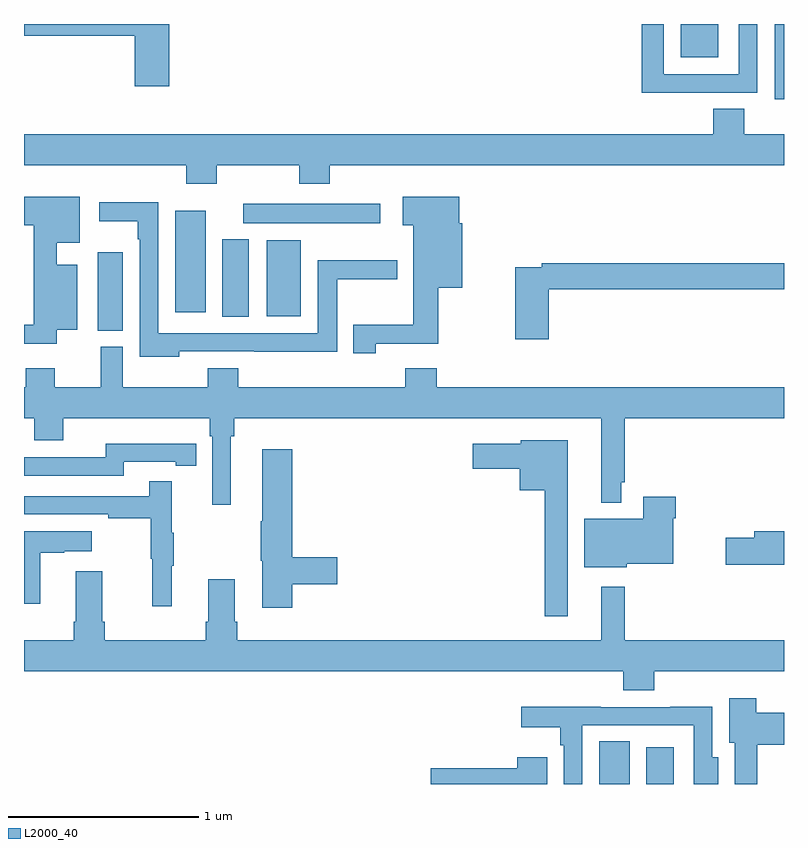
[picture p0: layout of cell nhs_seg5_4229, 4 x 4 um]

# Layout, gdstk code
import gdstk
lib = gdstk.Library(unit=1e-6, precision=1e-09)
def R(c, l, rs):  # rectangles x0, y0, x1, y1
    for r in rs: c.add(gdstk.rectangle(r[:2], r[2:], *l))
def P(c, l, *ps):  # polygons
    for p in ps: c.add(gdstk.Polygon(p, *l))
L2000_40 = (2000, 40)

nhs_seg5_4229 = lib.new_cell('nhs_seg5_4229')
R(nhs_seg5_4229, L2000_40, [(362.027,890.799,362.188,891.023), (362.276,890.799,362.419,890.992), (359.387,893.185,359.521,893.599), (360.044,893.257,360.184,893.665), (360.278,893.261,360.457,893.662), (359.795,893.283,359.956,893.815), (360.153,893.75,360.874,893.854), (362.952,894.402,363,894.799), (362.456,894.623,362.653,894.799)])
P(nhs_seg5_4229, L2000_40, [(359.765,894.799),(359,894.799),(359,894.736),(359.582,894.736),(359.582,894.471),(359.765,894.471)],
  [(362.543,894.438),(362.859,894.438),(362.859,894.799),(362.763,894.799),(362.763,894.534),(362.367,894.534),(362.367,894.799),(362.251,894.799),(362.251,894.437),(362.543,894.437)],
  [(360.015,894.056),(360.448,894.056),(360.448,893.957),(360.608,893.957),(360.608,894.056),(363,894.056),(363,894.22),(362.792,894.22),(362.792,894.353),(362.627,894.353),(362.627,894.22),(359,894.22),(359,894.056),(359.855,894.056),(359.855,893.957),(360.015,893.957)],
  [(360.852,893.117),(361.179,893.117),(361.179,893.411),(361.306,893.411),(361.306,893.751),(361.291,893.751),(361.291,893.89),(360.993,893.89),(360.993,893.741),(361.049,893.741),(361.049,893.217),(360.734,893.217),(360.734,893.067),(360.852,893.067)],
  [(359.173,893.189),(359.281,893.189),(359.281,893.533),(359.173,893.533),(359.173,893.648),(359.293,893.648),(359.293,893.89),(359,893.89),(359,893.741),(359.051,893.741),(359.051,893.217),(359,893.217),(359,893.117),(359.173,893.117)],
  [(359.817,893.076),(360.211,893.076),(360.211,893.075),(360.649,893.075),(360.649,893.455),(360.964,893.455),(360.964,893.555),(360.545,893.555),(360.545,893.172),(359.706,893.172),(359.706,893.861),(359.397,893.861),(359.397,893.762),(359.598,893.762),(359.598,893.666),(359.61,893.666),(359.61,893.048),(359.817,893.048)],
  [(361.763,893.404),(363,893.404),(363,893.54),(361.726,893.54),(361.726,893.52),(361.585,893.52),(361.585,893.139),(361.763,893.139)],
  [(362.039,892.28),(362.143,892.28),(362.143,892.387),(362.161,892.387),(362.161,892.724),(363,892.724),(363,892.888),(361.172,892.888),(361.172,892.987),(361.007,892.987),(361.007,892.888),(360.128,892.888),(360.128,892.987),(359.968,892.987),(359.968,892.888),(359.521,892.888),(359.521,893.1),(359.405,893.1),(359.405,892.888),(359.161,892.888),(359.161,892.987),(359.009,892.987),(359.009,892.888),(359,892.888),(359,892.724),(359.054,892.724),(359.054,892.607),(359.206,892.607),(359.206,892.724),(359.978,892.724),(359.978,892.628),(359.991,892.628),(359.991,892.269),(360.088,892.269),(360.088,892.628),(360.107,892.628),(360.107,892.724),(362.039,892.724)],
  [(361.861,892.609),(361.614,892.609),(361.614,892.591),(361.362,892.591),(361.362,892.457),(361.61,892.457),(361.61,892.346),(361.74,892.346),(361.74,891.681),(361.861,891.681)],
  [(359.526,892.494),(359.798,892.494),(359.798,892.474),(359.906,892.474),(359.906,892.59),(359.798,892.59),(359.798,892.591),(359.43,892.591),(359.43,892.518),(359,892.518),(359,892.422),(359.526,892.422)],
  [(360.413,891.85),(360.649,891.85),(360.649,891.992),(360.413,891.992),(360.413,892.561),(360.254,892.561),(360.254,892.181),(360.247,892.181),(360.247,891.975),(360.254,891.975),(360.254,891.726),(360.413,891.726)],
  [(359.777,891.947),(359.788,891.947),(359.788,892.121),(359.777,892.121),(359.777,892.393),(359.659,892.393),(359.659,892.314),(359,892.314),(359,892.218),(359.443,892.218),(359.443,892.198),(359.667,892.198),(359.667,891.984),(359.674,891.984),(359.674,891.735),(359.777,891.735)],
  [(362.172,891.959),(362.416,891.959),(362.416,892.199),(362.429,892.199),(362.429,892.312),(362.258,892.312),(362.258,892.195),(361.949,892.195),(361.949,891.941),(362.172,891.941)],
  [(363,892.13),(362.843,892.13),(362.843,892.094),(362.694,892.094),(362.694,891.952),(363,891.952)],
  [(359.086,892.015),(359.213,892.015),(359.213,892.025),(359.356,892.025),(359.356,892.129),(359,892.129),(359,891.747),(359.086,891.747)],
  [(362.318,891.392),(363,891.392),(363,891.556),(362.161,891.556),(362.161,891.838),(362.039,891.838),(362.039,891.556),(360.122,891.556),(360.122,891.652),(360.109,891.652),(360.109,891.877),(359.969,891.877),(359.969,891.652),(359.957,891.652),(359.957,891.556),(359.426,891.556),(359.426,891.652),(359.413,891.652),(359.413,891.919),(359.273,891.919),(359.273,891.652),(359.261,891.652),(359.261,891.556),(359,891.556),(359,891.392),(362.153,891.392),(362.153,891.293),(362.318,891.293)],
  [(362.86,891.005),(363,891.005),(363,891.175),(362.855,891.175),(362.855,891.25),(362.711,891.25),(362.711,891.017),(362.741,891.017),(362.741,890.799),(362.86,890.799)],
  [(361.938,891.108),(362.526,891.108),(362.526,890.799),(362.653,890.799),(362.653,890.94),(362.622,890.94),(362.622,891.206),(362.401,891.206),(362.401,891.204),(362.035,891.204),(362.035,891.206),(361.617,891.206),(361.617,891.098),(361.822,891.098),(361.822,891.002),(361.842,891.002),(361.842,890.799),(361.938,890.799)],
  [(361.753,890.941),(361.595,890.941),(361.595,890.882),(361.14,890.882),(361.14,890.799),(361.753,890.799)])

lib.write_gds('nhs_seg5_4229.gds')
